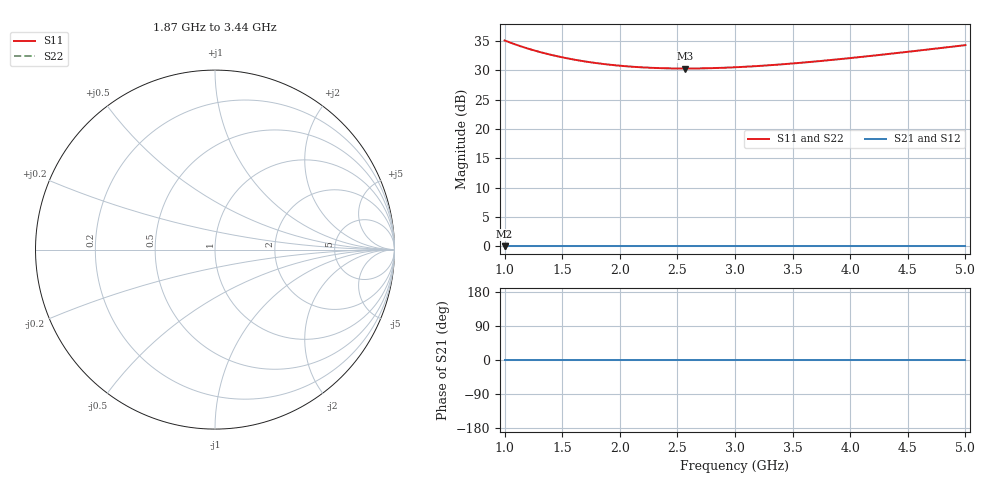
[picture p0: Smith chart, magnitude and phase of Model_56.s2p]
# GHZ S RI R 50
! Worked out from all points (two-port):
!   401 points, 1 GHz to 5 GHz, reference 50 ohm
!   highest |S21| = 0.00 dB at 1 GHz (marker M1); lowest = 0.0 dB at 1 GHz (marker M2)
!   |S21| within 3 dB of the highest: start of sweep to end of sweep
!   lowest |S11| = 30.3 dB at 2.57 GHz (marker M3)
!   |S11| at or under -10 dB: nowhere
!   |S22| runs from 30.3 to 35.1 dB; largest |S21 - S12| = 0
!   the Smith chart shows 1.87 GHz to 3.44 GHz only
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1  56.68 0  1 0  1 0  56.68 0
1.02  55.68 0  1 0  1 0  55.68 0
1.15  50.16 0  1 0  1 0  50.16 0
1.22  47.74 0  1 0  1 0  47.74 0
1.3  45.34 0  1 0  1 0  45.34 0
1.38  43.28 0  1 0  1 0  43.28 0
1.47  41.3 0  1 0  1 0  41.3 0
1.57  39.45 0  1 0  1 0  39.45 0
1.67  37.91 0  1 0  1 0  37.91 0
1.82  36.08 0  1 0  1 0  36.08 0
1.98  34.66 0  1 0  1 0  34.66 0
2.15  33.62 0  1 0  1 0  33.62 0
2.34  32.94 0  1 0  1 0  32.94 0
2.57  32.68 0  1 0  1 0  32.68 0
2.78  32.88 0  1 0  1 0  32.88 0
3  33.48 0  1 0  1 0  33.48 0
3.33  35.01 0  1 0  1 0  35.01 0
3.67  37.29 0  1 0  1 0  37.29 0
4  40.1 0  1 0  1 0  40.1 0
4.34  43.55 0  1 0  1 0  43.55 0
4.64  47.02 0  1 0  1 0  47.02 0
5  51.7 0  1 0  1 0  51.7 0
